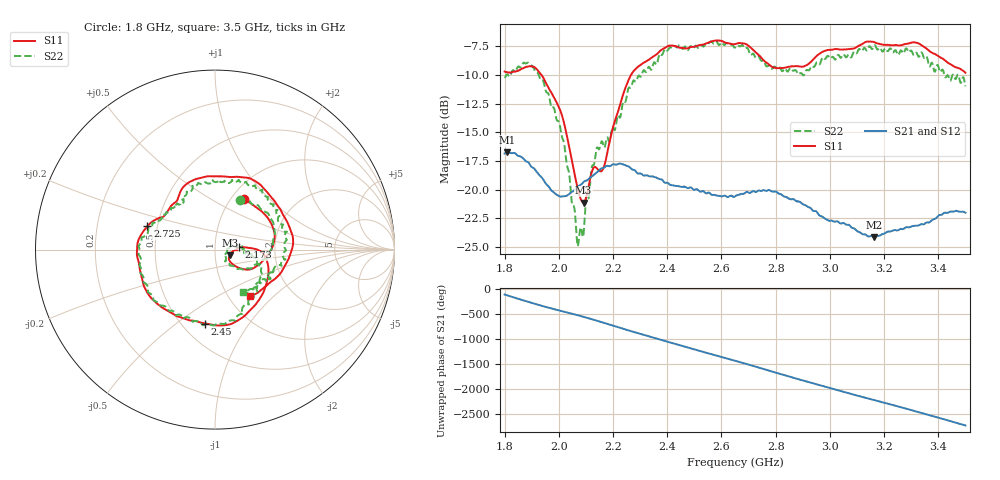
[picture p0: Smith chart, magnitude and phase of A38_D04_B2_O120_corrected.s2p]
! Created with skrf 1.9.0 (http://scikit-rf.org).
# Hz S RI R 50.0
!freq ReS11 ImS11 ReS21 ImS21 ReS12 ImS12 ReS22 ImS22
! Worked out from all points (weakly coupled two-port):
!   1601 points, 1.8 GHz to 3.5 GHz, reference 50 ohm
!   highest |S21| = -16.74 dB at 1.811 GHz (marker M1); lowest = -24.1 dB at 3.163 GHz (marker M2)
!   lowest |S11| = -21.1 dB at 2.091 GHz (marker M3), VSWR 1.19, Z = 58.8 - j3.84 ohm
!   |S11| at or under -10 dB: 1.936 GHz to 2.266 GHz (329.9 MHz wide, 15.7 % of centre)
!   |S22| runs from -24.9 to -7.1 dB; largest |S21 - S12| = 0.0023
!   S11 on the Smith chart (normalised r, x): 1.8 GHz: 1.14, +0.73; 2.173 GHz: 1.31, +0.03; 2.45 GHz: 0.65, -0.64; 2.725 GHz: 0.44, +0.14; 3.5 GHz: 1.26, -0.72
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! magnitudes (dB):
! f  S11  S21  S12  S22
! 1.8 GHz  -9.7  -16.8  -16.8  -10.3
! 1.811 GHz  -9.8  -16.7  -16.7  -9.9
! 1.882 GHz  -9.3  -17.5  -17.6  -9.0
! 1.942 GHz  -10.2  -19.1  -19.1  -10.5
! 2.01 GHz  -13.4  -20.6  -20.6  -15.3
! 2.067 GHz  -19.6  -19.8  -19.8  -24.5
! 2.084 GHz  -21.0  -19.5  -19.5  -23.4
! 2.091 GHz  -21.1  -19.3  -19.4  -23.9
! 2.133 GHz  -18.0  -18.6  -18.6  -17.5
! 2.157 GHz  -18.4  -18.1  -18.1  -15.8
! 2.173 GHz  -17.5  -18.0  -18.0  -15.9
! 2.262 GHz  -10.2  -18.1  -18.1  -11.1
! 2.367 GHz  -8.1  -19.0  -19.0  -8.5
! 2.45 GHz  -7.6  -19.7  -19.7  -7.5
! 2.65 GHz  -7.3  -20.6  -20.5  -7.6
! 2.725 GHz  -8.0  -20.2  -20.2  -8.5
! 2.799 GHz  -9.4  -20.1  -20.1  -9.3
! 2.934 GHz  -8.8  -21.7  -21.7  -9.2
! 3.163 GHz  -7.1  -24.1  -24.1  -7.5
! 3.217 GHz  -7.4  -23.6  -23.6  -7.8
! 3.324 GHz  -7.2  -23.1  -23.1  -8.3
! 3.5 GHz  -9.8  -22.0  -22.0  -11.0
